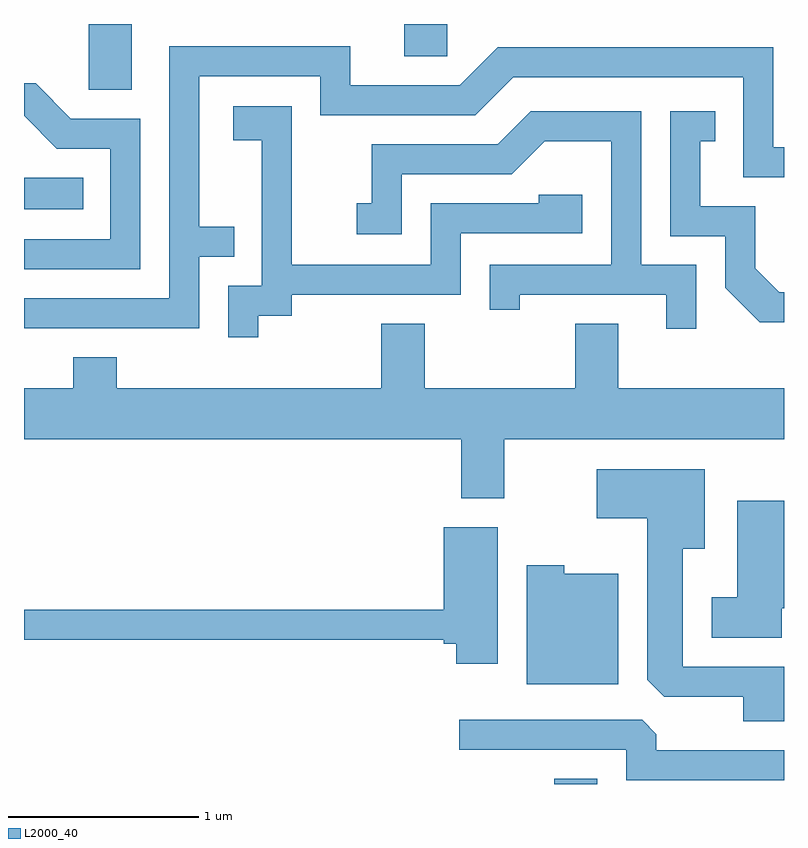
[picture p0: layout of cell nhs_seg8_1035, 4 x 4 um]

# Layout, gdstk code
import gdstk
lib = gdstk.Library(unit=1e-6, precision=1e-09)
def R(c, l, rs):  # rectangles x0, y0, x1, y1
    for r in rs: c.add(gdstk.rectangle(r[:2], r[2:], *l))
def P(c, l, *ps):  # polygons
    for p in ps: c.add(gdstk.Polygon(p, *l))
L2000_40 = (2000, 40)

nhs_seg8_1035 = lib.new_cell('nhs_seg8_1035')
R(nhs_seg8_1035, L2000_40, [(218.401,1872.342,218.629,1872.369), (215.611,1875.366,215.923,1875.534), (215.951,1875.996,216.179,1876.342), (217.611,1876.171,217.839,1876.342)])
P(nhs_seg8_1035, L2000_40, [(216.534,1875.116),(216.718,1875.116),(216.718,1875.274),(216.534,1875.274),(216.534,1876.066),(217.171,1876.066),(217.171,1875.861),(217.987,1875.861),(218.187,1876.061),(219.396,1876.061),(219.396,1875.536),(219.611,1875.536),(219.611,1875.694),(219.554,1875.694),(219.554,1876.219),(218.104,1876.219),(217.904,1876.019),(217.329,1876.019),(217.329,1876.224),(216.376,1876.224),(216.376,1874.899),(215.611,1874.899),(215.611,1874.741),(216.534,1874.741)],
  [(216.224,1875.844),(215.857,1875.844),(215.672,1876.029),(215.611,1876.029),(215.611,1875.859),(215.784,1875.686),(216.066,1875.686),(216.066,1875.209),(215.611,1875.209),(215.611,1875.051),(216.224,1875.051)],
  [(216.844,1874.806),(217.019,1874.806),(217.019,1874.916),(217.909,1874.916),(217.909,1875.241),(218.549,1875.241),(218.549,1875.444),(218.321,1875.444),(218.321,1875.399),(217.751,1875.399),(217.751,1875.074),(217.019,1875.074),(217.019,1875.909),(216.711,1875.909),(216.711,1875.731),(216.861,1875.731),(216.861,1874.964),(216.686,1874.964),(216.686,1874.693),(216.844,1874.693)],
  [(219.149,1875.074),(218.859,1875.074),(218.859,1875.884),(218.279,1875.884),(218.104,1875.709),(217.441,1875.709),(217.441,1875.399),(217.363,1875.399),(217.363,1875.236),(217.599,1875.236),(217.599,1875.551),(218.177,1875.551),(218.352,1875.726),(218.701,1875.726),(218.701,1875.074),(218.061,1875.074),(218.061,1874.838),(218.219,1874.838),(218.219,1874.916),(218.991,1874.916),(218.991,1874.738),(219.149,1874.738)],
  [(219.611,1874.929),(219.587,1874.929),(219.459,1875.057),(219.459,1875.384),(219.169,1875.384),(219.169,1875.726),(219.248,1875.726),(219.248,1875.884),(219.011,1875.884),(219.011,1875.226),(219.301,1875.226),(219.301,1874.954),(219.484,1874.771),(219.611,1874.771)],
  [(218.139,1874.156),(219.611,1874.156),(219.611,1874.424),(218.739,1874.424),(218.739,1874.764),(218.511,1874.764),(218.511,1874.424),(217.719,1874.424),(217.719,1874.764),(217.491,1874.764),(217.491,1874.424),(216.099,1874.424),(216.099,1874.589),(215.871,1874.589),(215.871,1874.424),(215.611,1874.424),(215.611,1874.156),(217.911,1874.156),(217.911,1873.846),(218.139,1873.846)],
  [(219.611,1872.959),(219.079,1872.959),(219.079,1873.581),(219.194,1873.581),(219.194,1873.999),(218.626,1873.999),(218.626,1873.741),(218.891,1873.741),(218.891,1872.892),(218.982,1872.801),(219.396,1872.801),(219.396,1872.671),(219.611,1872.671)],
  [(219.599,1873.266),(219.611,1873.266),(219.611,1873.834),(219.366,1873.834),(219.366,1873.324),(219.231,1873.324),(219.231,1873.111),(219.599,1873.111)],
  [(218.104,1873.694),(217.821,1873.694),(217.821,1873.259),(215.611,1873.259),(215.611,1873.101),(217.821,1873.101),(217.821,1873.081),(217.886,1873.081),(217.886,1872.976),(218.104,1872.976)],
  [(218.739,1873.449),(218.454,1873.449),(218.454,1873.494),(218.256,1873.494),(218.256,1872.866),(218.739,1872.866)],
  [(219.611,1872.519),(218.939,1872.519),(218.939,1872.604),(218.864,1872.679),(217.903,1872.679),(217.903,1872.521),(218.781,1872.521),(218.781,1872.361),(219.611,1872.361)])

lib.write_gds('nhs_seg8_1035.gds')
